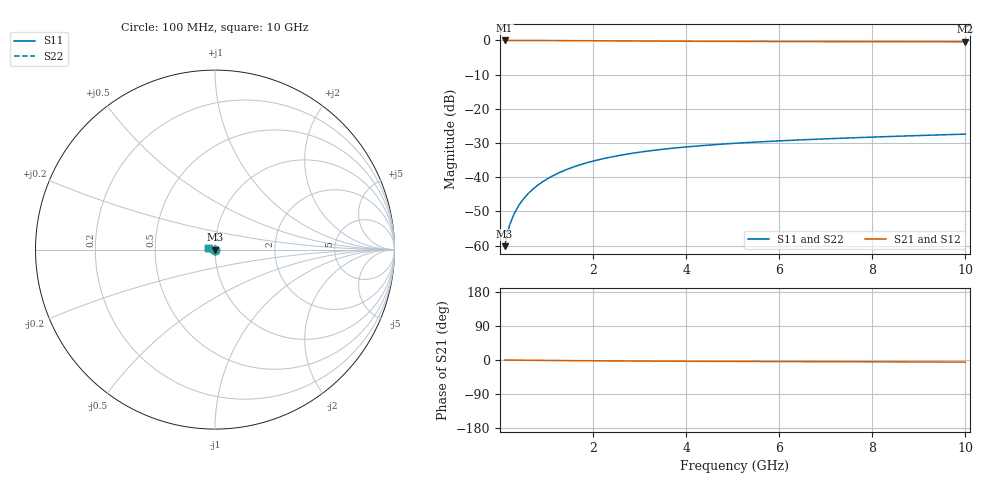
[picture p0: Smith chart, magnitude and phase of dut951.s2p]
! Touchstone file exported from HFSS 2024.1.0
!  File:  C:/UserFiles/LocalFiles/RDL_TSV_Batchsim/temp_TSV1_951_1779949122.aedt
!  Generated:  02:28:03 PM May 28, 2026
!  Design:  TSV1
!  Project:  temp_TSV1_951_1779949122
!  Setup:  Setup1
!  Solution:  Sweep
! Variables:
!  dtsv = 7.76um
!  hbump = 3um
!  htsv = 85.24um
!  lrdl = 252.1521522um
!  p = 40
!  p1 = 48.68um
!  t = 500um
!  trdl = 3um
!  wrdl = 24.89489489um
# GHz S MA R 50.000000
! Terminal data exported
! Port[1] = TSV22_T1
! Port[2] = TSV22_T2
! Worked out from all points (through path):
!   100 points, 100 MHz to 10 GHz, reference 50 ohm
!   highest |S21| = 0.00 dB at 100 MHz (marker M1); lowest = -0.4 dB at 10 GHz (marker M2)
!   lowest |S11| = -60.2 dB at 100 MHz (marker M3), VSWR 1.00, Z = 50 - j0.0955 ohm
!   |S11| at or under -10 dB: start of sweep to end of sweep
!   |S22| runs from -60.2 to -27.4 dB; largest |S21 - S12| = 9.7e-15
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0.1  0.000979 -77.1  0.9997 -0.1  0.9997 -0.1  0.000979 -77.1
! Gamma 0 0 0 0
! Port Impedance 50 0 50 0
0.2  0.001923 -86.1  0.9996 -0.2  0.9996 -0.2  0.001923 -86.1
0.3  0.002872 -90.5  0.9994 -0.4  0.9994 -0.4  0.002872 -90.5
0.4  0.003818 -93.7  0.9992 -0.5  0.9992 -0.5  0.003818 -93.7
0.5  0.004758 -96.3  0.9989 -0.6  0.9989 -0.6  0.004758 -96.3
0.6  0.005689 -98.7  0.9986 -0.7  0.9986 -0.7  0.005689 -98.7
0.7  0.006611 -100.9  0.9982 -0.8  0.9982 -0.8  0.006611 -100.9
0.8  0.00752 -103.0  0.9977 -0.9  0.9977 -0.9  0.00752 -103.0
0.9  0.008417 -105.0  0.9972 -1.0  0.9972 -1.0  0.008417 -105.0
1.1  0.01017 -109.0  0.9961 -1.2  0.9961 -1.2  0.01017 -109.0
1.4  0.01267 -114.5  0.9941 -1.5  0.9941 -1.5  0.01267 -114.5
1.6  0.01425 -118.0  0.9927 -1.7  0.9927 -1.7  0.01425 -118.0
1.8  0.01575 -121.4  0.9912 -1.9  0.9912 -1.9  0.01575 -121.4
2.1  0.01786 -126.2  0.9888 -2.1  0.9888 -2.1  0.01786 -126.2
2.5  0.02041 -132.3  0.9856 -2.4  0.9856 -2.4  0.02041 -132.3
2.9  0.02267 -137.9  0.9824 -2.7  0.9824 -2.7  0.02267 -137.9
3.4  0.02515 -144.4  0.9788 -3.0  0.9788 -3.0  0.02515 -144.4
4.2  0.02845 -153.6  0.9736 -3.3  0.9736 -3.3  0.02845 -153.6
5.1  0.03145 -162.5  0.9688 -3.7  0.9688 -3.7  0.03145 -162.5
6.7  0.03567 -175.6  0.9627 -4.3  0.9627 -4.3  0.03567 -175.6
8.4  0.0394 173.3  0.9583 -4.9  0.9583 -4.9  0.0394 173.3
10  0.04264 164.5  0.9554 -5.5  0.9554 -5.5  0.04264 164.5
